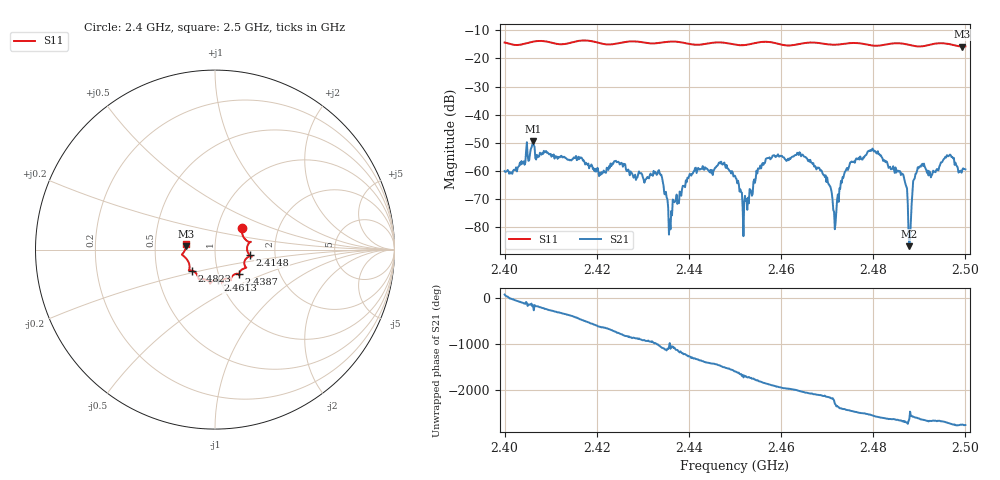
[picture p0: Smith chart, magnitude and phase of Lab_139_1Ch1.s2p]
# Hz S RI R 50
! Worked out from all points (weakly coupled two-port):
!   601 points, 2.4 GHz to 2.5 GHz, reference 50 ohm
!   highest |S21| = -49.38 dB at 2.4062 GHz (marker M1); lowest = -86.8 dB at 2.4878 GHz (marker M2)
!   lowest |S11| = -15.8 dB at 2.4993 GHz (marker M3), VSWR 1.39, Z = 36.1 + j1.3 ohm
!   |S11| at or under -10 dB: start of sweep to end of sweep
!   S12 and S22 are empty: the file has one direction only
!   S11 on the Smith chart (normalised r, x): 2.4 GHz: 1.31, +0.32; 2.4148 GHz: 1.47, -0.10; 2.4387 GHz: 1.25, -0.36; 2.4613 GHz: 0.97, -0.34; 2.4823 GHz: 0.75, -0.18; 2.5 GHz: 0.72, +0.04
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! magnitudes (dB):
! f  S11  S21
! 2.4 GHz  -14.3  -60.1
! 2.4062 GHz  -14.0  -49.4
! 2.4148 GHz  -14.2  -55.8
! 2.4167 GHz  -13.6  -55.3
! 2.4333 GHz  -14.5  -60.0
! 2.4358 GHz  -14.0  -77.3
! 2.4387 GHz  -14.4  -65.4
! 2.4467 GHz  -14.3  -57.0
! 2.45 GHz  -15.1  -61.8
! 2.4522 GHz  -15.2  -68.9
! 2.4568 GHz  -14.1  -55.5
! 2.4613 GHz  -15.4  -56.2
! 2.4667 GHz  -14.3  -57.2
! 2.4717 GHz  -15.1  -80.8
! 2.4753 GHz  -14.5  -56.7
! 2.4823 GHz  -15.2  -56.1
! 2.4833 GHz  -14.9  -58.9
! 2.4867 GHz  -14.8  -62.4
! 2.4878 GHz  -15.2  -86.8
! 2.4902 GHz  -15.7  -58.4
! 2.4993 GHz  -15.8  -59.7
! 2.5 GHz  -15.7  -59.5
